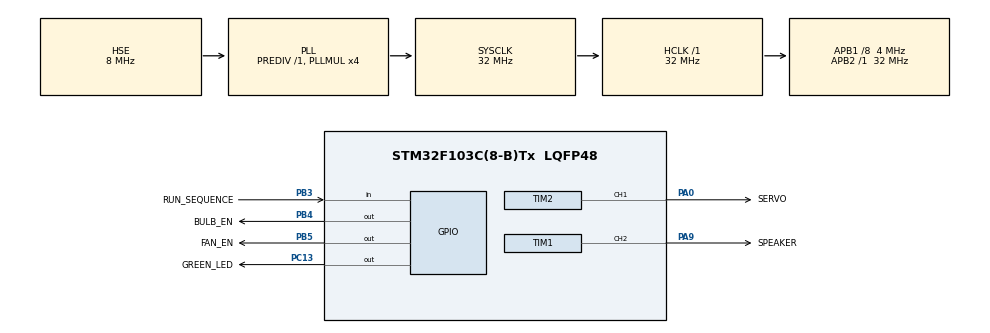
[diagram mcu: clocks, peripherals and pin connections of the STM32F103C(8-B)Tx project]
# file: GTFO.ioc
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IWDG.Prescaler=IWDG_PRESCALER_256
IWDG.Reload=154
Mcu.Family=STM32F1
Mcu.Name=STM32F103C(8-B)Tx
Mcu.Package=LQFP48
NVIC.PriorityGroup=NVIC_PRIORITYGROUP_4
PA0-WKUP.GPIO_Label=SERVO
PA0-WKUP.Signal=S_TIM2_CH1_ETR
PA13.Mode=Serial_Wire
PA13.Signal=SYS_JTMS-SWDIO
PA14.Mode=Serial_Wire
PA14.Signal=SYS_JTCK-SWCLK
PA9.GPIO_Label=SPEAKER
PA9.Signal=S_TIM1_CH2
PB3.GPIO_Label=RUN_SEQUENCE
PB3.Signal=GPIO_Input
PB4.GPIO_Label=BULB_EN
PB4.Signal=GPIO_Output
PB5.GPIO_Label=FAN_EN
PB5.Signal=GPIO_Output
PC13-TAMPER-RTC.GPIO_Label=GREEN_LED
PC13-TAMPER-RTC.Signal=GPIO_Output
PC14-OSC32_IN.Mode=LSE-External-Oscillator
PC14-OSC32_IN.Signal=RCC_OSC32_IN
PC15-OSC32_OUT.Mode=LSE-External-Oscillator
PC15-OSC32_OUT.Signal=RCC_OSC32_OUT
PD0-OSC_IN.Mode=HSE-External-Oscillator
PD0-OSC_IN.Signal=RCC_OSC_IN
PD1-OSC_OUT.Mode=HSE-External-Oscillator
PD1-OSC_OUT.Signal=RCC_OSC_OUT
ProjectManager.HeapSize=0x200
ProjectManager.StackSize=0x400
ProjectManager.TargetToolchain=SW4STM32
RCC.AHBFreq_Value=32000000
RCC.APB1CLKDivider=RCC_HCLK_DIV8
RCC.APB1Freq_Value=4000000
RCC.APB1TimFreq_Value=8000000
RCC.APB2Freq_Value=32000000
RCC.APB2TimFreq_Value=32000000
RCC.HCLKFreq_Value=32000000
RCC.PLLMUL=RCC_PLL_MUL4
RCC.PLLSourceVirtual=RCC_PLLSOURCE_HSE
RCC.SYSCLKFreq_VALUE=32000000
RCC.SYSCLKSource=RCC_SYSCLKSOURCE_PLLCLK
RCC.USBFreq_Value=32000000
SH.S_TIM1_CH2.0=TIM1_CH2,PWM Generation2 CH2
SH.S_TIM2_CH1_ETR.0=TIM2_CH1,PWM Generation1 CH1
TIM1.AutoReloadPreload=TIM_AUTORELOAD_PRELOAD_ENABLE
TIM1.Channel-PWM\ Generation2\ CH2=TIM_CHANNEL_2
TIM1.Period=62744
TIM1.Prescaler=16
TIM1.Pulse-PWM\ Generation2\ CH2=9000
TIM2.AutoReloadPreload=TIM_AUTORELOAD_PRELOAD_ENABLE
TIM2.Channel-PWM\ Generation1\ CH1=TIM_CHANNEL_1
TIM2.Period=53332
TIM2.Prescaler=2
TIM2.Pulse-PWM\ Generation1\ CH1=5333
VP_IWDG_VS_IWDG.Mode=IWDG_Activate
VP_TIM1_VS_ClockSourceINT.Mode=Internal
VP_TIM2_VS_ClockSourceINT.Mode=Internal
board=custom

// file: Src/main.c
/* USER CODE BEGIN Header */
/**
  ******************************************************************************
  * @file           : main.c
  * @brief          : Main program body
  ******************************************************************************
  * @attention
  *
  * <h2><center>&copy; Copyright (c) 2021 STMicroelectronics.
  * All rights reserved.</center></h2>
  *
  * This software component is licensed by ST under BSD 3-Clause license,
  * the "License"; You may not use this file except in compliance with the
  * License. You may obtain a copy of the License at:
  *                        opensource.org/licenses/BSD-3-Clause
  *
  ******************************************************************************
  */
/* USER CODE END Header */

#include "main.h"

/* USER CODE BEGIN Includes */
#include <stdbool.h>

/* USER CODE END Includes */

/* USER CODE BEGIN PM */
#define SECONDS_FROM_MS(x) (x / 1000)
#define MS_FROM_SECONDS(x) (x * 1000)
/* USER CODE END PM */

IWDG_HandleTypeDef hiwdg;

TIM_HandleTypeDef htim1;
TIM_HandleTypeDef htim2;

void SystemClock_Config(void);

static void MX_GPIO_Init(void);

static void MX_IWDG_Init(void);

static void MX_TIM1_Init(void);

static void MX_TIM2_Init(void);

/* USER CODE BEGIN PFP */
static void EnableSpeaker(bool enable);

static void EnableBulb(bool enable);

static void EnableFan(bool enable);

static void WaitAndPetWatchdog(uint32_t lengthMs, bool blinkDuring);

/* USER CODE END PFP */

int main(void) {

    /* MCU Configuration--------------------------------------------------------*/

    /* Reset of all peripherals, Initializes the Flash interface and the Systick. */
    HAL_Init();

    /* Configure the system clock */
    SystemClock_Config();

    /* Initialize all configured peripherals */
    MX_GPIO_Init();
    MX_IWDG_Init();
    MX_TIM1_Init();5+

    MX_TIM2_Init();
    /* USER CODE BEGIN 2 */
    EnableSpeaker(false);
    EnableFan(false);
    EnableBulb(false);
    HAL_GPIO_WritePin(GREEN_LED_GPIO_Port, GREEN_LED_Pin, GPIO_PIN_RESET); // Enable sign-of-life led
    WaitAndPetWatchdog(MS_FROM_SECONDS(2), false); // Hold green LED to indicate boot up has occurred

    /* USER CODE END 2 */

    /* Infinite loop */
    /* USER CODE BEGIN WHILE */
#pragma clang diagnostic push
#pragma ide diagnostic ignored "EndlessLoop"
    while (1) {
        /* USER CODE END WHILE */

        /* USER CODE BEGIN 3 */
        EnableBulb(true);
        EnableFan(false);
        EnableSpeaker(true);
        WaitAndPetWatchdog(MS_FROM_SECONDS(15), true);
        EnableSpeaker(false);
        WaitAndPetWatchdog(MS_FROM_SECONDS(15), true);
        EnableSpeaker(true);
        WaitAndPetWatchdog(MS_FROM_SECONDS(15), true);
        EnableSpeaker(false);
        WaitAndPetWatchdog(MS_FROM_SECONDS(15), true);
        EnableSpeaker(true);
        WaitAndPetWatchdog(MS_FROM_SECONDS(15), true);
        EnableSpeaker(false);
        WaitAndPetWatchdog(MS_FROM_SECONDS(15), true);
        EnableBulb(false);
        EnableFan(true);
        EnableSpeaker(true);
        WaitAndPetWatchdog(MS_FROM_SECONDS(5), true);
    }
#pragma clang diagnostic pop
    /* USER CODE END 3 */
}

void SystemClock_Config(void) {
    RCC_OscInitTypeDef RCC_OscInitStruct = {0};
    RCC_ClkInitTypeDef RCC_ClkInitStruct = {0};

    /** Initializes the CPU, AHB and APB busses clocks
    */
    RCC_OscInitStruct.OscillatorType = RCC_OSCILLATORTYPE_LSI | RCC_OSCILLATORTYPE_HSE;
    RCC_OscInitStruct.HSEState = RCC_HSE_ON;
    RCC_OscInitStruct.HSEPredivValue = RCC_HSE_PREDIV_DIV1;
    RCC_OscInitStruct.HSIState = RCC_HSI_ON;
    RCC_OscInitStruct.LSIState = RCC_LSI_ON;
    RCC_OscInitStruct.PLL.PLLState = RCC_PLL_ON;
    RCC_OscInitStruct.PLL.PLLSource = RCC_PLLSOURCE_HSE;
    RCC_OscInitStruct.PLL.PLLMUL = RCC_PLL_MUL4;
    if (HAL_RCC_OscConfig(&RCC_OscInitStruct) != HAL_OK) {
        Error_Handler();
    }
    /** Initializes the CPU, AHB and APB busses clocks
    */
    RCC_ClkInitStruct.ClockType = RCC_CLOCKTYPE_HCLK | RCC_CLOCKTYPE_SYSCLK
                                  | RCC_CLOCKTYPE_PCLK1 | RCC_CLOCKTYPE_PCLK2;
    RCC_ClkInitStruct.SYSCLKSource = RCC_SYSCLKSOURCE_PLLCLK;
    RCC_ClkInitStruct.AHBCLKDivider = RCC_SYSCLK_DIV1;
    RCC_ClkInitStruct.APB1CLKDivider = RCC_HCLK_DIV8;
    RCC_ClkInitStruct.APB2CLKDivider = RCC_HCLK_DIV1;

    if (HAL_RCC_ClockConfig(&RCC_ClkInitStruct, FLASH_LATENCY_1) != HAL_OK) {
        Error_Handler();
    }
}

static void MX_IWDG_Init(void) {

    hiwdg.Instance = IWDG;
    hiwdg.Init.Prescaler = IWDG_PRESCALER_256;
    hiwdg.Init.Reload = 154;
    if (HAL_IWDG_Init(&hiwdg) != HAL_OK) {
        Error_Handler();
    }

}

static void MX_TIM1_Init(void) {

    TIM_ClockConfigTypeDef sClockSourceConfig = {0};
    TIM_MasterConfigTypeDef sMasterConfig = {0};
    TIM_OC_InitTypeDef sConfigOC = {0};
    TIM_BreakDeadTimeConfigTypeDef sBreakDeadTimeConfig = {0};

    htim1.Instance = TIM1;
    htim1.Init.Prescaler = 16;
    htim1.Init.CounterMode = TIM_COUNTERMODE_UP;
    htim1.Init.Period = 62744;
    htim1.Init.ClockDivision = TIM_CLOCKDIVISION_DIV1;
    htim1.Init.RepetitionCounter = 0;
    htim1.Init.AutoReloadPreload = TIM_AUTORELOAD_PRELOAD_ENABLE;
    if (HAL_TIM_Base_Init(&htim1) != HAL_OK) {
        Error_Handler();
    }
    sClockSourceConfig.ClockSource = TIM_CLOCKSOURCE_INTERNAL;
    if (HAL_TIM_ConfigClockSource(&htim1, &sClockSourceConfig) != HAL_OK) {
        Error_Handler();
    }
    if (HAL_TIM_PWM_Init(&htim1) != HAL_OK) {
        Error_Handler();
    }
    sMasterConfig.MasterOutputTrigger = TIM_TRGO_RESET;
    sMasterConfig.MasterSlaveMode = TIM_MASTERSLAVEMODE_DISABLE;
    if (HAL_TIMEx_MasterConfigSynchronization(&htim1, &sMasterConfig) != HAL_OK) {
        Error_Handler();
    }
    sConfigOC.OCMode = TIM_OCMODE_PWM1;
    sConfigOC.Pulse = 9000;
    sConfigOC.OCPolarity = TIM_OCPOLARITY_HIGH;
    sConfigOC.OCNPolarity = TIM_OCNPOLARITY_HIGH;
    sConfigOC.OCFastMode = TIM_OCFAST_DISABLE;
    sConfigOC.OCIdleState = TIM_OCIDLESTATE_RESET;
    sConfigOC.OCNIdleState = TIM_OCNIDLESTATE_RESET;
    if (HAL_TIM_PWM_ConfigChannel(&htim1, &sConfigOC, TIM_CHANNEL_2) != HAL_OK) {
        Error_Handler();
    }
    sBreakDeadTimeConfig.OffStateRunMode = TIM_OSSR_DISABLE;
    sBreakDeadTimeConfig.OffStateIDLEMode = TIM_OSSI_DISABLE;
    sBreakDeadTimeConfig.LockLevel = TIM_LOCKLEVEL_OFF;
    sBreakDeadTimeConfig.DeadTime = 0;
    sBreakDeadTimeConfig.BreakState = TIM_BREAK_DISABLE;
    sBreakDeadTimeConfig.BreakPolarity = TIM_BREAKPOLARITY_HIGH;
    sBreakDeadTimeConfig.AutomaticOutput = TIM_AUTOMATICOUTPUT_DISABLE;
    if (HAL_TIMEx_ConfigBreakDeadTime(&htim1, &sBreakDeadTimeConfig) != HAL_OK) {
        Error_Handler();
    }
    HAL_TIM_MspPostInit(&htim1);

}

static void MX_TIM2_Init(void) {

    TIM_ClockConfigTypeDef sClockSourceConfig = {0};
    TIM_MasterConfigTypeDef sMasterConfig = {0};
    TIM_OC_InitTypeDef sConfigOC = {0};

    htim2.Instance = TIM2;
    htim2.Init.Prescaler = 2;
    htim2.Init.CounterMode = TIM_COUNTERMODE_UP;
    htim2.Init.Period = 53332;
    htim2.Init.ClockDivision = TIM_CLOCKDIVISION_DIV1;
    htim2.Init.AutoReloadPreload = TIM_AUTORELOAD_PRELOAD_ENABLE;
    if (HAL_TIM_Base_Init(&htim2) != HAL_OK) {
        Error_Handler();
    }
    sClockSourceConfig.ClockSource = TIM_CLOCKSOURCE_INTERNAL;
    if (HAL_TIM_ConfigClockSource(&htim2, &sClockSourceConfig) != HAL_OK) {
        Error_Handler();
    }
    if (HAL_TIM_PWM_Init(&htim2) != HAL_OK) {
        Error_Handler();
    }
    sMasterConfig.MasterOutputTrigger = TIM_TRGO_RESET;
    sMasterConfig.MasterSlaveMode = TIM_MASTERSLAVEMODE_DISABLE;
    if (HAL_TIMEx_MasterConfigSynchronization(&htim2, &sMasterConfig) != HAL_OK) {
        Error_Handler();
    }
    sConfigOC.OCMode = TIM_OCMODE_PWM1;
    sConfigOC.Pulse = 5333;
    sConfigOC.OCPolarity = TIM_OCPOLARITY_HIGH;
    sConfigOC.OCFastMode = TIM_OCFAST_DISABLE;
    if (HAL_TIM_PWM_ConfigChannel(&htim2, &sConfigOC, TIM_CHANNEL_1) != HAL_OK) {
        Error_Handler();
    }
    HAL_TIM_MspPostInit(&htim2);

}

static void MX_GPIO_Init(void) {
    GPIO_InitTypeDef GPIO_InitStruct = {0};

    /* GPIO Ports Clock Enable */
    __HAL_RCC_GPIOC_CLK_ENABLE();
    __HAL_RCC_GPIOD_CLK_ENABLE();
    __HAL_RCC_GPIOA_CLK_ENABLE();
    __HAL_RCC_GPIOB_CLK_ENABLE();

    /*Configure GPIO pin Output Level */
    HAL_GPIO_WritePin(GREEN_LED_GPIO_Port, GREEN_LED_Pin, GPIO_PIN_RESET);

    /*Configure GPIO pin Output Level */
    HAL_GPIO_WritePin(GPIOB, BULB_EN_Pin | FAN_EN_Pin, GPIO_PIN_RESET);

    /*Configure GPIO pin : GREEN_LED_Pin */
    GPIO_InitStruct.Pin = GREEN_LED_Pin;
    GPIO_InitStruct.Mode = GPIO_MODE_OUTPUT_PP;
    GPIO_InitStruct.Pull = GPIO_NOPULL;
    GPIO_InitStruct.Speed = GPIO_SPEED_FREQ_LOW;
    HAL_GPIO_Init(GREEN_LED_GPIO_Port, &GPIO_InitStruct);

    /*Configure GPIO pin : RUN_SEQUENCE_Pin */
    GPIO_InitStruct.Pin = RUN_SEQUENCE_Pin;
    GPIO_InitStruct.Mode = GPIO_MODE_INPUT;
    GPIO_InitStruct.Pull = GPIO_NOPULL;
    HAL_GPIO_Init(RUN_SEQUENCE_GPIO_Port, &GPIO_InitStruct);

    /*Configure GPIO pins : BULB_EN_Pin FAN_EN_Pin */
    GPIO_InitStruct.Pin = BULB_EN_Pin | FAN_EN_Pin;
    GPIO_InitStruct.Mode = GPIO_MODE_OUTPUT_PP;
    GPIO_InitStruct.Pull = GPIO_NOPULL;
    GPIO_InitStruct.Speed = GPIO_SPEED_FREQ_LOW;
    HAL_GPIO_Init(GPIOB, &GPIO_InitStruct);

}

/* USER CODE BEGIN 4 */
static void EnableSpeaker(bool enable) {
    if (enable) {
        HAL_TIM_PWM_Start(&htim1, TIM_CHANNEL_2);
    } else {
        HAL_TIM_PWM_Stop(&htim1, TIM_CHANNEL_2);
    }
}

static void EnableBulb(bool enable) {
    if (enable) {
        HAL_GPIO_WritePin(BULB_EN_GPIO_Port, BULB_EN_Pin, GPIO_PIN_SET);
    } else {

        HAL_GPIO_WritePin(BULB_EN_GPIO_Port, BULB_EN_Pin, GPIO_PIN_RESET);
    }
}

static void EnableFan(bool enable) {
    if (enable) {
        HAL_GPIO_WritePin(FAN_EN_GPIO_Port, FAN_EN_Pin, GPIO_PIN_SET);
    } else {
        HAL_GPIO_WritePin(FAN_EN_GPIO_Port, FAN_EN_Pin, GPIO_PIN_RESET);
    }
}

static void WaitAndPetWatchdog(uint32_t lengthMs, bool blinkDuring) {
    uint32_t tickPeriod = 1 / (uint32_t) HAL_GetTickFreq(); // Tick frequency is in KHz, so the tick period is in ms
    uint32_t ticksToWait = lengthMs / tickPeriod; // Divide length by ticks per millisecond

    uint32_t ticks = HAL_GetTick();

    while (HAL_GetTick() - ticks < ticksToWait) { // While the elapsed ticks are less than the number to wait
        HAL_IWDG_Refresh(&hiwdg); // refresh watchdog
        HAL_Delay(50);
        if (blinkDuring)
            HAL_GPIO_TogglePin(GREEN_LED_GPIO_Port, GREEN_LED_Pin); // flash sign-of-life led
    }
}

static void SlideServo() {

}
/* USER CODE END 4 */

void Error_Handler(void) {
    /* USER CODE BEGIN Error_Handler_Debug */
    /* User can add his own implementation to report the HAL error return state */
    HAL_NVIC_SystemReset();
    /* USER CODE END Error_Handler_Debug */
}

/************************ (C) COPYRIGHT STMicroelectronics *****END OF FILE****/
